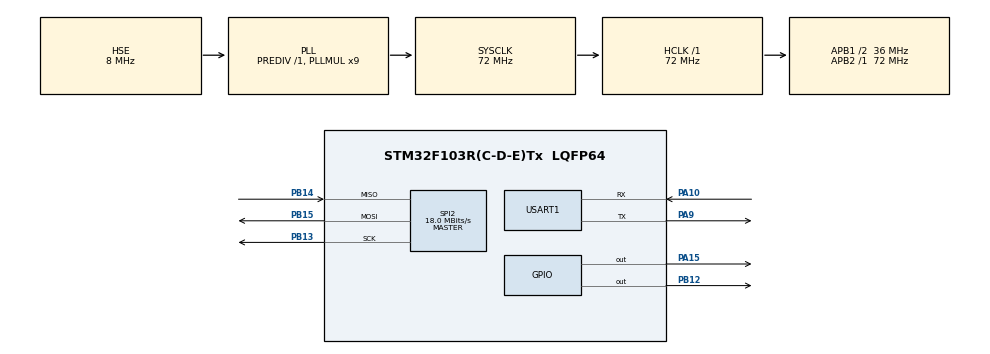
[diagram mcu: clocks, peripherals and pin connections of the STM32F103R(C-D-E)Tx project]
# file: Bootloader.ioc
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Mcu.Family=STM32F1
Mcu.Name=STM32F103R(C-D-E)Tx
Mcu.Package=LQFP64
NVIC.PriorityGroup=NVIC_PRIORITYGROUP_4
PA10.Mode=Asynchronous
PA10.Signal=USART1_RX
PA13.Mode=Serial_Wire
PA13.Signal=SYS_JTMS-SWDIO
PA14.Mode=Serial_Wire
PA14.Signal=SYS_JTCK-SWCLK
PA15.PinState=GPIO_PIN_RESET
PA15.Signal=GPIO_Output
PA9.Mode=Asynchronous
PA9.Signal=USART1_TX
PB12.PinState=GPIO_PIN_SET
PB12.Signal=GPIO_Output
PB13.Mode=Full_Duplex_Master
PB13.Signal=SPI2_SCK
PB14.Mode=Full_Duplex_Master
PB14.Signal=SPI2_MISO
PB15.Mode=Full_Duplex_Master
PB15.Signal=SPI2_MOSI
PD0-OSC_IN.Mode=HSE-External-Oscillator
PD0-OSC_IN.Signal=RCC_OSC_IN
PD1-OSC_OUT.Mode=HSE-External-Oscillator
PD1-OSC_OUT.Signal=RCC_OSC_OUT
ProjectManager.HeapSize=0x200
ProjectManager.StackSize=0x400
ProjectManager.TargetToolchain=MDK-ARM V5
RCC.AHBFreq_Value=72000000
RCC.APB1CLKDivider=RCC_HCLK_DIV2
RCC.APB1Freq_Value=36000000
RCC.APB1TimFreq_Value=72000000
RCC.APB2Freq_Value=72000000
RCC.APB2TimFreq_Value=72000000
RCC.HCLKFreq_Value=72000000
RCC.PLLMUL=RCC_PLL_MUL9
RCC.PLLSourceVirtual=RCC_PLLSOURCE_HSE
RCC.SYSCLKFreq_VALUE=72000000
RCC.SYSCLKSource=RCC_SYSCLKSOURCE_PLLCLK
RCC.USBFreq_Value=72000000
SPI2.CalculateBaudRate=18.0 MBits/s
SPI2.Direction=SPI_DIRECTION_2LINES
SPI2.Mode=SPI_MODE_MASTER
SPI2.VirtualType=VM_MASTER
USART1.VirtualMode=VM_ASYNC
board=custom

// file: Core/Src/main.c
/* USER CODE BEGIN Header */
/**
	******************************************************************************
	* @file           : main.c
	* @brief          : Main program body
	******************************************************************************
	* @attention
	*
	* Copyright (c) 2026 STMicroelectronics.
	* All rights reserved.
	*
	* This software is licensed under terms that can be found in the LICENSE file
	* in the root directory of this software component.
	* If no LICENSE file comes with this software, it is provided AS-IS.
	*
	******************************************************************************
	*/
/* USER CODE END Header */
#include "main.h"

/* USER CODE BEGIN Includes */
#include <stdio.h>      // printf 和 FILE 类型的声明
#include "crc32.h"      // crc32_calc 的声明
#include "ota_meta.h"   // ota_meta_t 类型和那五个函数的声明
#include "w25q.h"       // w25q_read / w25q_write / w25q_erase_sector 的声明
/* USER CODE END Includes */

/* USER CODE BEGIN PD */
#define OTA_FW_SIZE  16384U                                     // 一次校验的固件长度，和 App 的 FW_SIZE 一致
/* USER CODE END PD */

SPI_HandleTypeDef hspi2;

UART_HandleTypeDef huart1;

void SystemClock_Config(void);
static void MX_GPIO_Init(void);
static void MX_USART1_UART_Init(void);
static void MX_SPI2_Init(void);

/* USER CODE BEGIN 0 */
//
//修改VTOR寄存器的值，指向App的中断向量表
typedef void (*app_entry_t)(void);                        // 函数指针类型：无参数、无返回值
static void jump_to_app(uint32_t app_addr)                // 传入 App 分区起始地址
{
	uint32_t sp = *(volatile uint32_t *)app_addr;         // 向量表第 0 项，是 App 的栈顶地址
	uint32_t pc = *(volatile uint32_t *)(app_addr + 4);   // 第 1 项，是 Reset_Handler 的地址

	if ((sp & 0xFFF00000) != 0x20000000) return;          // 栈顶必须落在 SRAM（0x20000000 起 48KB），不对就说明这没固件

	__disable_irq();                                      // 关总中断，防止换栈换表的过程被打断
	SysTick->CTRL = 0;                                    // 关 SysTick，不然跳过去它还在数，一溢出就跳回 Bootloader
	SysTick->LOAD = 0;                                    // 清装载值
	SysTick->VAL  = 0;                                    // 清当前计数
	SCB->VTOR = app_addr;                                 // 把向量表基址指到 App 的表
	__set_MSP(sp);                                        // 把主栈指针换成 App 的栈顶
	__enable_irq();                                       // 重新开中断，不开的话 App 里所有中断都不响应
	((app_entry_t)pc)();                                  // 跳到 App 的 Reset_Handler，不返回
}

/* USER CODE END 0 */

int main(void)
{

  /* MCU Configuration--------------------------------------------------------*/

  /* Reset of all peripherals, Initializes the Flash interface and the Systick. */
  HAL_Init();

  /* Configure the system clock */
  SystemClock_Config();

  /* Initialize all configured peripherals */
  MX_GPIO_Init();
  MX_USART1_UART_Init();
  MX_SPI2_Init();
  /* USER CODE BEGIN 2 */

	//ota测试代码
	ota_meta_t meta;                                                             // 用来装读出来的元数据
	ota_meta_load(&meta);                                                        // 从 Flash 最后一页读出来

	printf("magic=0x%08X slot=%d trial=%d cnt=%d\r\n",                            // 把关键字段打出来
		meta.magic, meta.active_slot, meta.trial, meta.boot_count);	// 四个字段依次打印
	if (!ota_meta_is_valid(&meta))                                               // magic 或 crc_meta 不对
	{
		printf("meta invalid, init default\r\n");                                // 说明是第一次上电
		ota_meta_set_default(&meta);								// 填默认值：启动 A

		ota_meta_save(&meta);                                                    // 写回 Flash
		printf("saved: slot=%d\r\n", meta.active_slot);                          // 确认写的是 A
	}
	else																	// 元数据有效
	{
		printf("meta ok\r\n");                                                   // 元数据有效，直接用
	}
	// ===== 临时：登记 A 的新 CRC，测完删 =====
	meta.crc_a = crc32_flash(OTA_SLOT_A_ADDR, OTA_FW_SIZE);
	meta.crc_b = crc32_flash(OTA_SLOT_B_ADDR, OTA_FW_SIZE);
	ota_meta_save(&meta);
	printf("[Boot] adopt crc_a=0x%08X crc_b=0x%08X\r\n", meta.crc_a, meta.crc_b);
	// ===== 临时结束 =====

	//亮灯判断是否进入Bootloader段
	for (int i = 0; i < 3; i++)                                        // 快闪三下，和 App 的慢闪区分开
	{
		HAL_GPIO_WritePin(GPIOA, GPIO_PIN_15, GPIO_PIN_RESET);         // 拉低，灯亮
		HAL_Delay(100);                                                // 100 毫秒
		HAL_GPIO_WritePin(GPIOA, GPIO_PIN_15, GPIO_PIN_SET);           // 拉高，灯灭
		HAL_Delay(100);                                                // 100 毫秒
	}

	uint8_t slot = meta.active_slot;                                 // 元数据说启动哪个槽
	uint8_t other = (slot == OTA_SLOT_A) ? OTA_SLOT_B : OTA_SLOT_A;  // 另一个槽
	uint8_t fell_back = 0;                                           // 1 = 选中槽 CRC 失败，已经切到另一个槽
	uint32_t expect = (slot == OTA_SLOT_A) ? meta.crc_a : meta.crc_b;
	uint32_t crc = crc32_flash(ota_slot_addr(slot), OTA_FW_SIZE);    // 算选中槽的 CRC

	printf("[Boot] slot=%d crc=0x%08X expect=0x%08X\r\n", slot, crc, expect);

	if (expect != 0 && crc != expect)                                // 登记过、而且对不上
	{
		uint32_t expect2 = (other == OTA_SLOT_A) ? meta.crc_a : meta.crc_b;
		uint32_t crc2 = crc32_flash(ota_slot_addr(other), OTA_FW_SIZE);

		printf("[Boot] crc fail, other=%d crc=0x%08X expect=0x%08X\r\n", other, crc2, expect2);

		if (expect2 != 0 && crc2 == expect2)                        // 另一个槽是好的
		{
			printf("[Boot] fallback to slot=%d\r\n", other);        // 先只跳，不写元数据
			slot = other;                                           // 这次跳另一个槽
			fell_back = 1;                                          // 标记走过 CRC 回退
		}
		else                                                        // 两个都不可信
		{
			printf("[Boot] both slots bad, stay\r\n");              // 不跳，留在 Bootloader
			while (1)
			{
				HAL_GPIO_TogglePin(GPIOA, GPIO_PIN_15);             // 快闪报警
				HAL_Delay(100);
			}
		}
	}
	if (meta.trial == 1 && !fell_back)                              // 试启动，而且没走 CRC 回退
	{
		if (meta.boot_count >= 3)                                   // 已经连续失败三次
		{
			uint8_t old_slot = meta.active_slot;                    // 记一下原来的槽
			meta.active_slot = other;                               // 切回另一个槽
			meta.trial = 0;                                         // 不再试启动
			meta.boot_count = 0;                                    // 计数清零
			ota_meta_save(&meta);                                   // 写回
			printf("[Boot] rollback %d -> %d\r\n", old_slot, meta.active_slot);  // 打印
			slot = meta.active_slot;                                // 这次就跳旧槽
		}
		else
		{
			meta.boot_count++;                                      // 记一次失败
			ota_meta_save(&meta);                                   // 写回
			printf("[Boot] trial, boot_count=%d\r\n", meta.boot_count);  // 打印
		}
	}

	jump_to_app(ota_slot_addr(slot));                                // 跳到选中的槽
  /* USER CODE END 2 */

  /* Infinite loop */
	while (1)
	{

	}
}

void SystemClock_Config(void)
{
  RCC_OscInitTypeDef RCC_OscInitStruct = {0};
  RCC_ClkInitTypeDef RCC_ClkInitStruct = {0};

  /** Initializes the RCC Oscillators according to the specified parameters
  * in the RCC_OscInitTypeDef structure.
  */
  RCC_OscInitStruct.OscillatorType = RCC_OSCILLATORTYPE_HSE;
  RCC_OscInitStruct.HSEState = RCC_HSE_ON;
  RCC_OscInitStruct.HSEPredivValue = RCC_HSE_PREDIV_DIV1;
  RCC_OscInitStruct.HSIState = RCC_HSI_ON;
  RCC_OscInitStruct.PLL.PLLState = RCC_PLL_ON;
  RCC_OscInitStruct.PLL.PLLSource = RCC_PLLSOURCE_HSE;
  RCC_OscInitStruct.PLL.PLLMUL = RCC_PLL_MUL9;
  if (HAL_RCC_OscConfig(&RCC_OscInitStruct) != HAL_OK)
  {
    Error_Handler();
  }

  /** Initializes the CPU, AHB and APB buses clocks
  */
  RCC_ClkInitStruct.ClockType = RCC_CLOCKTYPE_HCLK|RCC_CLOCKTYPE_SYSCLK
                              |RCC_CLOCKTYPE_PCLK1|RCC_CLOCKTYPE_PCLK2;
  RCC_ClkInitStruct.SYSCLKSource = RCC_SYSCLKSOURCE_PLLCLK;
  RCC_ClkInitStruct.AHBCLKDivider = RCC_SYSCLK_DIV1;
  RCC_ClkInitStruct.APB1CLKDivider = RCC_HCLK_DIV2;
  RCC_ClkInitStruct.APB2CLKDivider = RCC_HCLK_DIV1;

  if (HAL_RCC_ClockConfig(&RCC_ClkInitStruct, FLASH_LATENCY_2) != HAL_OK)
  {
    Error_Handler();
  }
}

static void MX_SPI2_Init(void)
{

  /* SPI2 parameter configuration*/
  hspi2.Instance = SPI2;
  hspi2.Init.Mode = SPI_MODE_MASTER;
  hspi2.Init.Direction = SPI_DIRECTION_2LINES;
  hspi2.Init.DataSize = SPI_DATASIZE_8BIT;
  hspi2.Init.CLKPolarity = SPI_POLARITY_LOW;
  hspi2.Init.CLKPhase = SPI_PHASE_1EDGE;
  hspi2.Init.NSS = SPI_NSS_SOFT;
  hspi2.Init.BaudRatePrescaler = SPI_BAUDRATEPRESCALER_2;
  hspi2.Init.FirstBit = SPI_FIRSTBIT_MSB;
  hspi2.Init.TIMode = SPI_TIMODE_DISABLE;
  hspi2.Init.CRCCalculation = SPI_CRCCALCULATION_DISABLE;
  hspi2.Init.CRCPolynomial = 10;
  if (HAL_SPI_Init(&hspi2) != HAL_OK)
  {
    Error_Handler();
  }

}

static void MX_USART1_UART_Init(void)
{

  huart1.Instance = USART1;
  huart1.Init.BaudRate = 115200;
  huart1.Init.WordLength = UART_WORDLENGTH_8B;
  huart1.Init.StopBits = UART_STOPBITS_1;
  huart1.Init.Parity = UART_PARITY_NONE;
  huart1.Init.Mode = UART_MODE_TX_RX;
  huart1.Init.HwFlowCtl = UART_HWCONTROL_NONE;
  huart1.Init.OverSampling = UART_OVERSAMPLING_16;
  if (HAL_UART_Init(&huart1) != HAL_OK)
  {
    Error_Handler();
  }

}

static void MX_GPIO_Init(void)
{
  GPIO_InitTypeDef GPIO_InitStruct = {0};

  /* GPIO Ports Clock Enable */
  __HAL_RCC_GPIOD_CLK_ENABLE();
  __HAL_RCC_GPIOB_CLK_ENABLE();
  __HAL_RCC_GPIOA_CLK_ENABLE();

  /*Configure GPIO pin Output Level */
  HAL_GPIO_WritePin(GPIOB, GPIO_PIN_12, GPIO_PIN_SET);

  /*Configure GPIO pin Output Level */
  HAL_GPIO_WritePin(GPIOA, GPIO_PIN_15, GPIO_PIN_RESET);

  /*Configure GPIO pin : PB12 */
  GPIO_InitStruct.Pin = GPIO_PIN_12;
  GPIO_InitStruct.Mode = GPIO_MODE_OUTPUT_PP;
  GPIO_InitStruct.Pull = GPIO_NOPULL;
  GPIO_InitStruct.Speed = GPIO_SPEED_FREQ_LOW;
  HAL_GPIO_Init(GPIOB, &GPIO_InitStruct);

  /*Configure GPIO pin : PA15 */
  GPIO_InitStruct.Pin = GPIO_PIN_15;
  GPIO_InitStruct.Mode = GPIO_MODE_OUTPUT_PP;
  GPIO_InitStruct.Pull = GPIO_NOPULL;
  GPIO_InitStruct.Speed = GPIO_SPEED_FREQ_LOW;
  HAL_GPIO_Init(GPIOA, &GPIO_InitStruct);

}

/* USER CODE BEGIN 4 */
int fputc(int ch, FILE *f)                                          // printf 每输出一个字符就调它一次
{
	HAL_UART_Transmit(&huart1, (uint8_t *)&ch, 1, HAL_MAX_DELAY);   // 用串口1发这一个字节，死等到发完
	return ch;                                                      // 原样返回，不然 printf 以为写失败会中断
}
/* USER CODE END 4 */

void Error_Handler(void)
{
	__disable_irq();
	while (1)
	{
	}
}
